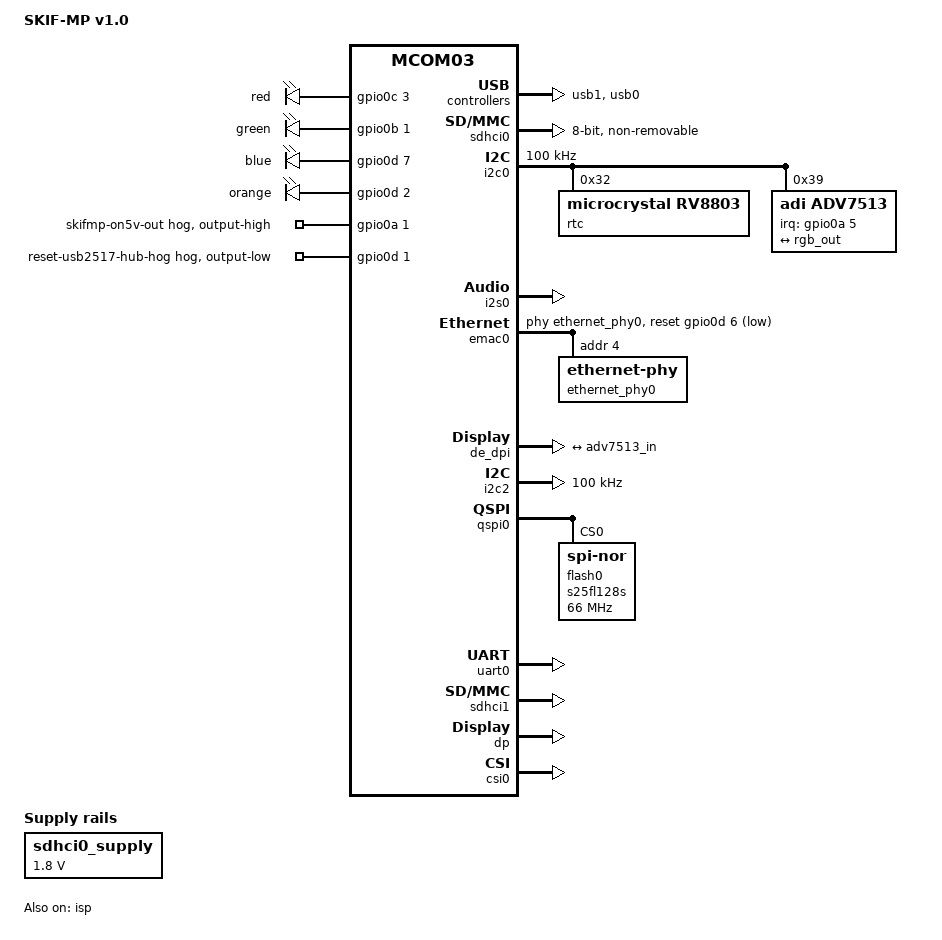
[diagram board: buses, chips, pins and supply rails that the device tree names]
// SPDX-License-Identifier: GPL-2.0+
/*
 * Copyright 2023 RnD Center "ELVEES", JSC
 */

/dts-v1/;

#include <dt-bindings/gpio/gpio.h>
#include <dt-bindings/input/input.h>
#include <dt-bindings/net/ti-dp83867.h>
#include <dt-bindings/thermal/thermal.h>

#include "mcom03.dtsi"

/ {
	model = "SKIF-MP v1.0";
	compatible = "elvees,skifmp-v1.0",
		     "elvees,skifmp",
		     "elvees,mcom03";

	skifmp-leds {
		compatible = "gpio-leds";

		red {
			gpios = <&gpio0c 3 GPIO_ACTIVE_HIGH>;
			default-state = "off";
		};

		green {
			gpios = <&gpio0b 1 GPIO_ACTIVE_HIGH>;
			default-state = "off";
		};

		blue {
			gpios = <&gpio0d 7 GPIO_ACTIVE_HIGH>;
			default-state = "off";
		};

		orange {
			gpios = <&gpio0d 2 GPIO_ACTIVE_HIGH>;
			default-state = "on";
			linux,default-trigger = "heartbeat";
		};
	};

	sdhci0_supply: regulator@0 {
		compatible = "regulator-fixed";
		regulator-name = "sdhci0-supply";
		regulator-min-microvolt = <1800000>;
		regulator-max-microvolt = <1800000>;
		regulator-always-on;
	};

	hdmi_sound: hdmi-sound {
		compatible = "simple-audio-card";
		simple-audio-card,name = "SKIF-MP HDMI Audio";
		simple-audio-card,format = "i2s";
		simple-audio-card,bitclock-master = <&dailink0_master>;
		simple-audio-card,frame-master = <&dailink0_master>;

		dailink0_master: simple-audio-card,cpu {
			sound-dai = <&i2s0>;
		};

		simple-audio-card,codec {
			sound-dai = <&adv7513>;
		};
	};

	chosen {
		stdout-path = "serial0:115200n8";
	};
};

&gpio0a {
	skifmp-on5v-out {
		gpio-hog;
		gpios = <1 GPIO_ACTIVE_HIGH>;
		output-high;
	};
};

&gpio0d {
	reset-usb2517-hub-hog {
		gpio-hog;
		gpios = <1 GPIO_ACTIVE_HIGH>;
		output-low;
	};
};

&lsperiph0_pinctrl {
	hdmi_int: hdmi-int {
		pins = "GPIOA_5";
		bias-pull-up;
	};
};

&hsperiph_pinctrl {
	pinctrl-0 = <&hsperiph_misc_default &emac_v18>;
};

/* Connected to USB 2.0 hub */
&usb1 {
	status = "okay";
};

/* Connected to eMMC */
&sdhci0 {
	status = "okay";

	non-removable;
	bus-width = <8>;

	vqmmc-supply = <&sdhci0_supply>;
};

&i2c0 {
	/* Not all devices are checked to 400kHz support */
	clock-frequency = <100000>;
	status = "okay";

	rtc@32 {
		compatible = "microcrystal,rv8803";
		reg = <0x32>;
	};

	/* Connected to HDMI plug */
	adv7513: hdmi@39 {
		#sound-dai-cells = <0>;
		compatible = "adi,adv7513";
		reg = <0x39>, <0x3f>;
		reg-names = "main", "edid";
		interrupt-parent = <&gpio0a>;
		interrupts = <5 IRQ_TYPE_EDGE_FALLING>;
		adi,input-depth = <8>;
		adi,input-colorspace = "rgb";
		adi,input-clock = "1x";
		#address-cells = <1>;
		#size-cells = <0>;

		pinctrl-names = "default";
		pinctrl-0 = <&hdmi_int>;

		port@0 {
			reg = <0>;
			adv7513_in: endpoint {
				remote-endpoint = <&rgb_out>;
			};
		};
	};
};

&i2s0 {
	status = "okay";
};

/* Connected to RJ-45 */
&emac0 {
	status = "okay";

	phy-handle = <&ethernet_phy0>;
	reset-gpios = <&gpio0d 6 GPIO_ACTIVE_LOW>;
	reset-post-delay-us = <200>;

	ethernet_phy0: ethernet-phy@4 {
		reg = <0x4>;
		ti,rx-internal-delay = <DP83867_RGMIIDCTL_2_00_NS>;
		ti,tx-internal-delay = <DP83867_RGMIIDCTL_2_00_NS>;
		ti,fifo-depth = <DP83867_PHYCR_FIFO_DEPTH_4_B_NIB>;
	};
};

&de_dpi {
	status = "okay";

	ports {
		port@1 {
			reg = <1>;

			rgb_out: endpoint {
				remote-endpoint = <&adv7513_in>;
			};
		};
	};
};

&i2c2 {
	status = "okay";
	clock-frequency = <100000>;
};

&qspi0 {
	status = "okay";

	flash0: s25fl128s@0 {
		#address-cells = <1>;
		#size-cells = <1>;
		compatible = "jedec,spi-nor", "spi-flash";
		reg = <0x0>;
		/* This is the highest frequency at which all commands are
		 * supported by the flash device.
		 */
		spi-max-frequency = <66000000>;
		m25p,fast-read;
	};
};

/* Connected to Raspberry Pi header */
&uart0 {
	status = "okay";
};

/* Connected to MicroSD card */
&sdhci1 {
	status = "okay";

	/* Disable 1.8V support
	 * Disable SDR50, SDR104 and DDR50 support
	 */
	sdhci-caps-mask = <0x7 0x4000000>;
	sdhci-caps = <0x0 0x0>;

	disable-wp;
};

/* Connected to USB 3.0 Type-A */
&usb0 {
	status = "okay";
};

/* Board have video output interface */
&dp {
	status = "okay";
};

&isp {
	status = "okay";
};

&csi0 {
	status = "okay";
	reset_gpio = <&gpio1a 6 GPIO_ACTIVE_HIGH>;
};
